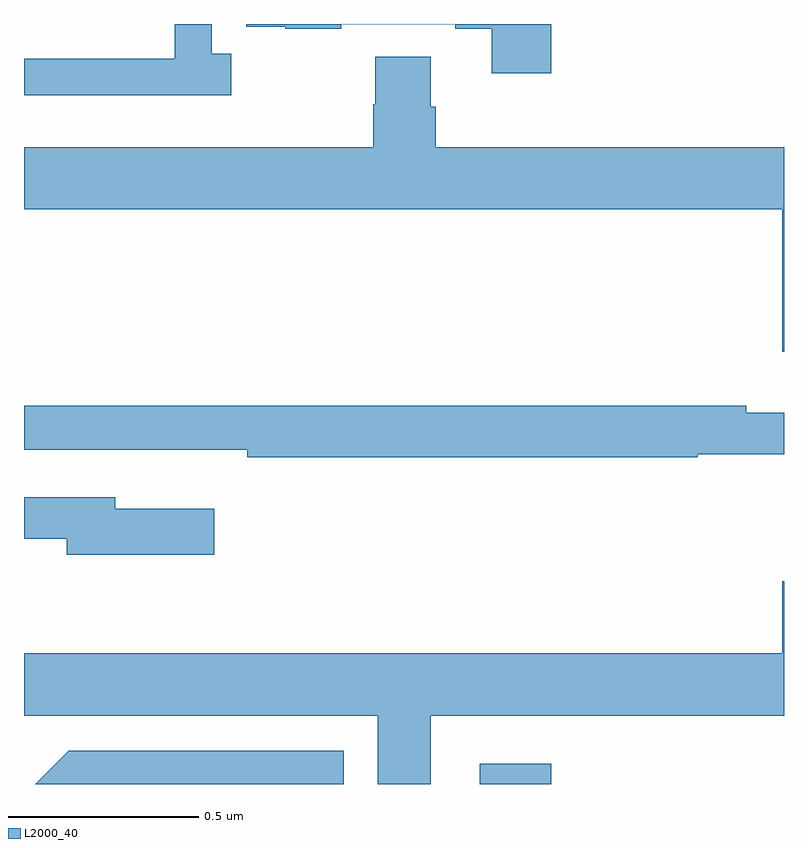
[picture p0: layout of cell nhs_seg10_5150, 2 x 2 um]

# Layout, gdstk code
import gdstk
lib = gdstk.Library(unit=1e-6, precision=1e-09)
def R(c, l, rs):  # rectangles x0, y0, x1, y1
    for r in rs: c.add(gdstk.rectangle(r[:2], r[2:], *l))
def P(c, l, *ps):  # polygons
    for p in ps: c.add(gdstk.Polygon(p, *l))
L2000_40 = (2000, 40)

nhs_seg10_5150 = lib.new_cell('nhs_seg10_5150')
R(nhs_seg10_5150, L2000_40, [(176.199,1269.5,176.387,1269.553)])
P(nhs_seg10_5150, L2000_40, [(176.387,1271.5),(175.585,1271.5),(175.585,1271.493),(175.687,1271.493),(175.687,1271.487),(175.835,1271.487),(175.835,1271.499),(176.135,1271.499),(176.135,1271.487),(176.231,1271.487),(176.231,1271.37),(176.387,1271.37)],
  [(175.546,1271.422),(175.494,1271.422),(175.494,1271.5),(175.397,1271.5),(175.397,1271.409),(175,1271.409),(175,1271.312),(175.546,1271.312)],
  [(176.996,1270.638),(177,1270.638),(177,1271.176),(176.084,1271.176),(176.084,1271.282),(176.071,1271.282),(176.071,1271.414),(175.924,1271.414),(175.924,1271.289),(175.919,1271.289),(175.919,1271.176),(175,1271.176),(175,1271.012),(176.996,1271.012)],
  [(176.773,1270.368),(177,1270.368),(177,1270.477),(176.9,1270.477),(176.9,1270.496),(175,1270.496),(175,1270.38),(175.336,1270.38),(175.336,1270.379),(175.588,1270.379),(175.588,1270.36),(176.773,1270.36)],
  [(175.501,1270.225),(175.24,1270.225),(175.24,1270.254),(175,1270.254),(175,1270.146),(175.112,1270.146),(175.112,1270.103),(175.501,1270.103)],
  [(176.071,1269.68),(177,1269.68),(177,1270.033),(176.996,1270.033),(176.996,1269.844),(175,1269.844),(175,1269.68),(175.931,1269.68),(175.931,1269.5),(176.071,1269.5)],
  [(175.842,1269.588),(175.118,1269.588),(175.03,1269.5),(175.842,1269.5)])

lib.write_gds('nhs_seg10_5150.gds')
